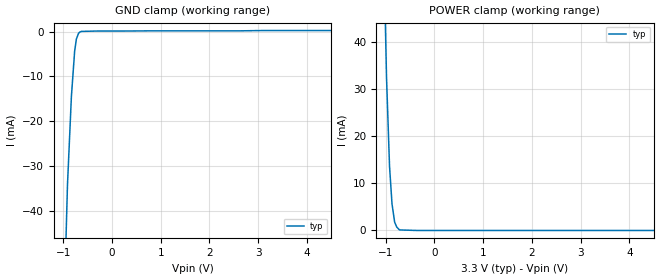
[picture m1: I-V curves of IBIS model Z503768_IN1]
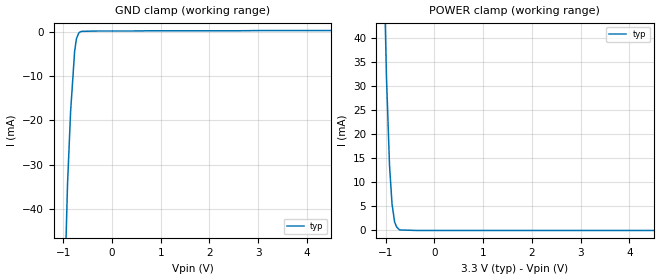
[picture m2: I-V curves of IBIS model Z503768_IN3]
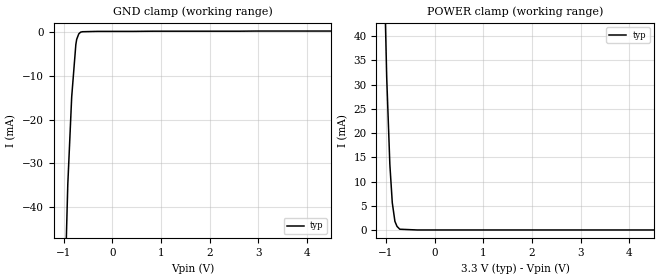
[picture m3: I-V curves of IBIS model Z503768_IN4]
| YOU ARE ONLY AUTHORIZED TO USE THIS SOFTWARE
| ACCORDING TO LICENSOR'S LICENSE RESTRICTIONS.
[IBIS Ver] 3.1
[File Name] mc74ac273dw_33.ibs
[File Rev] 2.0
[Source] Measured and created by ICX Technology
[Date] Friday 7/14/00 9:07:59 AM
[Copyright]
| (C) COPYRIGHT 1993-2000
| MENTOR GRAPHICS CORPORATION
| ICX STANDARD LIBRARY, ICX PROJECT MODELING,
| ICX CUSTOM MODELING, ICX VENDOR MODEL
| ALL RIGHTS RESERVED.
| THE FOLLOWING ARE TRADEMARKS OR SERVICE MARKS OF
| MENTOR GRAPHICS CORPORATION:ICX (R), ICX STANDARD
| LIBRARY(R), ICX PROJECT MODELING(R), ICX CUSTOM
| MODELING(R), qualityIBIS(TM), MODELVIEWER(TM),
| AND MODELEDITOR(TM)
| ALL COPIES OF SOFTWARE, INCLUDING BUT NOT LIMITED TO
| ANY MODIFICATIONS, ENHANCEMENTS OR DERIVATIVE WORKS,
| MUST CONTAIN ALL MENTOR GRAPHICS CORPORATION'S
| NOTICES AND LEGENDS, INCLUDING THOSE EMBEDDED IN
| SOFTWARE AND THOSE AFFIXED TO SOFTWARE MEDIUM
| AND CONTAINER, AS RECEIVED FROM MENTOR GRAPHICS
| CORPORATION.
|  ZAP Model Builder 2.7
[Component] MC74AC273DW_33
[Manufacturer] OnSemiconductor
[Package]
| variable   typ   min   max
R_pkg  .178ohms NA NA
L_pkg  4.43nH NA NA
C_pkg  .62pF NA NA
[Pin] signal_name  model_name  R_pin  L_pin C_pin
1 _CLR Z503768_IN1 .186 5.37n .68p
2 Q0 Z503768_OUT2 .182 4.89n .65p
3 D0 Z503768_IN3 .178 4.42n .62p
4 D1 Z503768_IN3 .174 3.96n .59p
5 Q1 Z503768_OUT2 .17 3.51n .56p
6 Q2 Z503768_OUT2 .17 3.51n .56p
7 D2 Z503768_IN3 .174 3.96n .59p
8 D3 Z503768_IN3 .178 4.42n .62p
9 Q3 Z503768_OUT2 .182 4.89n .65p
10 GND GND .186 5.37n .68p
11 CLK Z503768_IN4 .186 5.37n .68p
12 Q4 Z503768_OUT2 .182 4.89n .65p
13 D4 Z503768_IN3 .178 4.42n .62p
14 D5 Z503768_IN3 .174 3.96n .59p
15 Q5 Z503768_OUT2 .17 3.51n .56p
16 Q6 Z503768_OUT2 .17 3.51n .56p
17 D6 Z503768_IN3 .174 3.96n .59p
18 D7 Z503768_IN3 .178 4.42n .62p
19 Q7 Z503768_OUT2 .182 4.89n .65p
20 VCC POWER .186 5.37n .68p
| Models and submodels in the file (4): Z503768_IN1 (Input), Z503768_IN3 (Input), Z503768_IN4 (Input), Z503768_OUT2 (Output)
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| (C) COPYRIGHT 1993-2000
| MENTOR GRAPHICS CORPORATION
| ICX STANDARD LIBRARY, ICX PROJECT MODELING,
| ICX CUSTOM MODELING, ICX VENDOR MODEL
| ALL RIGHTS RESERVED.
| THE FOLLOWING ARE TRADEMARKS OR SERVICE MARKS OF
| MENTOR GRAPHICS CORPORATION:ICX (R), ICX STANDARD
| LIBRARY(R), ICX PROJECT MODELING(R), ICX CUSTOM
| MODELING(R), qualityIBIS(TM), MODELVIEWER(TM),
| AND MODELEDITOR(TM)
| ALL COPIES OF SOFTWARE, INCLUDING BUT NOT LIMITED TO
| ANY MODIFICATIONS, ENHANCEMENTS OR DERIVATIVE WORKS,
| MUST CONTAIN ALL MENTOR GRAPHICS CORPORATION'S
| NOTICES AND LEGENDS, INCLUDING THOSE EMBEDDED IN
| SOFTWARE AND THOSE AFFIXED TO SOFTWARE MEDIUM
| AND CONTAINER, AS RECEIVED FROM MENTOR GRAPHICS
| CORPORATION.
| Model Application Version 1.89 2/18/99.
[Model] Z503768_IN1
Model_type Input
Vinl = 990.0mV
Vinh = 2.310V
C_comp 4.000pF NA NA
| variable typ   min   max
[Voltage Range] 3.300V NA NA
[GND Clamp Reference] 0.000V NA NA
[POWER Clamp Reference] 3.300V NA NA
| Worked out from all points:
|   GND clamp passes 1 mA (typ) near -0.71 V on its own axis
|   POWER clamp passes 1 mA (typ) near -0.79 V on its own axis
[GND Clamp]
-3.3V     -1.543A    NA         NA
-1.054V   -89.2mA    NA         NA
-913.4mV  -34.16mA   NA         NA
-833.3mV  -14.49mA   NA         NA
-766.5mV  -4.344mA   NA         NA
-730.7mV  -1.632mA   NA         NA
-687.7mV  -399.3uA   NA         NA
-628.7mV  59.38uA    NA         NA
6.6V      254.4uA    NA         NA
[POWER Clamp]
-3.3V     1.957A     NA         NA
-1.143V   125.7mA    NA         NA
-1.036V   57.12mA    NA         NA
-985mV    32.63mA    NA         NA
-923mV    13.67mA    NA         NA
-872mV    5.618mA    NA         NA
-818mV    1.772mA    NA         NA
-775mV    719.1uA    NA         NA
-718mV    117uA      NA         NA
-359mV    0A         NA         NA
6.6V      0A         NA         NA
| (C) COPYRIGHT 1993-2000
| MENTOR GRAPHICS CORPORATION
| ICX STANDARD LIBRARY, ICX PROJECT MODELING,
| ICX CUSTOM MODELING, ICX VENDOR MODEL
| ALL RIGHTS RESERVED.
| THE FOLLOWING ARE TRADEMARKS OR SERVICE MARKS OF
| MENTOR GRAPHICS CORPORATION:ICX (R), ICX STANDARD
| LIBRARY(R), ICX PROJECT MODELING(R), ICX CUSTOM
| MODELING(R), qualityIBIS(TM), MODELVIEWER(TM),
| AND MODELEDITOR(TM)
| ALL COPIES OF SOFTWARE, INCLUDING BUT NOT LIMITED TO
| ANY MODIFICATIONS, ENHANCEMENTS OR DERIVATIVE WORKS,
| MUST CONTAIN ALL MENTOR GRAPHICS CORPORATION'S
| NOTICES AND LEGENDS, INCLUDING THOSE EMBEDDED IN
| SOFTWARE AND THOSE AFFIXED TO SOFTWARE MEDIUM
| AND CONTAINER, AS RECEIVED FROM MENTOR GRAPHICS
| CORPORATION.
| Model Application Version 1.89 2/18/99.
[Model] Z503768_IN3
Model_type Input
Vinl = 990.0mV
Vinh = 2.310V
C_comp 4.000pF NA NA
| variable typ   min   max
[Voltage Range] 3.300V NA NA
[GND Clamp Reference] 0.000V NA NA
[POWER Clamp Reference] 3.300V NA NA
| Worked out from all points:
|   GND clamp passes 1 mA (typ) near -0.71 V on its own axis
|   POWER clamp passes 1 mA (typ) near -0.79 V on its own axis
[GND Clamp]
-3.3V     -1.797A    NA         NA
-1.052V   -90.9mA    NA         NA
-913mV    -34.48mA   NA         NA
-849.4mV  -17.98mA   NA         NA
-766.5mV  -4.361mA   NA         NA
-730.8mV  -1.634mA   NA         NA
-686.9mV  -404.6uA   NA         NA
-628.3mV  59.77uA    NA         NA
6.6V      248.2uA    NA         NA
[POWER Clamp]
-3.3V     1.761A     NA         NA
-1.124V   106mA      NA         NA
-1.025V   49.58mA    NA         NA
-986mV    31.95mA    NA         NA
-923mV    13.48mA    NA         NA
-872mV    5.562mA    NA         NA
-818mV    1.73mA     NA         NA
-775mV    702.1uA    NA         NA
-718mV    110.3uA    NA         NA
-359mV    0A         NA         NA
6.6V      0A         NA         NA
| (C) COPYRIGHT 1993-2000
| MENTOR GRAPHICS CORPORATION
| ICX STANDARD LIBRARY, ICX PROJECT MODELING,
| ICX CUSTOM MODELING, ICX VENDOR MODEL
| ALL RIGHTS RESERVED.
| THE FOLLOWING ARE TRADEMARKS OR SERVICE MARKS OF
| MENTOR GRAPHICS CORPORATION:ICX (R), ICX STANDARD
| LIBRARY(R), ICX PROJECT MODELING(R), ICX CUSTOM
| MODELING(R), qualityIBIS(TM), MODELVIEWER(TM),
| AND MODELEDITOR(TM)
| ALL COPIES OF SOFTWARE, INCLUDING BUT NOT LIMITED TO
| ANY MODIFICATIONS, ENHANCEMENTS OR DERIVATIVE WORKS,
| MUST CONTAIN ALL MENTOR GRAPHICS CORPORATION'S
| NOTICES AND LEGENDS, INCLUDING THOSE EMBEDDED IN
| SOFTWARE AND THOSE AFFIXED TO SOFTWARE MEDIUM
| AND CONTAINER, AS RECEIVED FROM MENTOR GRAPHICS
| CORPORATION.
| Model Application Version 1.89 2/18/99.
[Model] Z503768_IN4
Model_type Input
Vinl = 990.0mV
Vinh = 2.310V
C_comp 4.000pF NA NA
| variable typ   min   max
[Voltage Range] 3.300V NA NA
[GND Clamp Reference] 0.000V NA NA
[POWER Clamp Reference] 3.300V NA NA
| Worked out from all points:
|   GND clamp passes 1 mA (typ) near -0.71 V on its own axis
|   POWER clamp passes 1 mA (typ) near -0.79 V on its own axis
[GND Clamp]
-3.3V     -1.844A    NA         NA
-1.051V   -91.36mA   NA         NA
-912.9mV  -34.76mA   NA         NA
-833mV    -14.83mA   NA         NA
-747.9mV  -2.878mA   NA         NA
-730.6mV  -1.679mA   NA         NA
-687.6mV  -427uA     NA         NA
-648.3mV  -20.08uA   NA         NA
846.1mV   189.2uA    NA         NA
6.6V      223.8uA    NA         NA
[POWER Clamp]
-3.3V     1.569A     NA         NA
-1.153V   116.8mA    NA         NA
-1.026V   48.44mA    NA         NA
-987mV    31.58mA    NA         NA
-922mV    13.5mA     NA         NA
-872mV    5.611mA    NA         NA
-818mV    1.773mA    NA         NA
-775mV    741uA      NA         NA
-718mV    154.5uA    NA         NA
-359mV    0A         NA         NA
6.6V      0A         NA         NA
